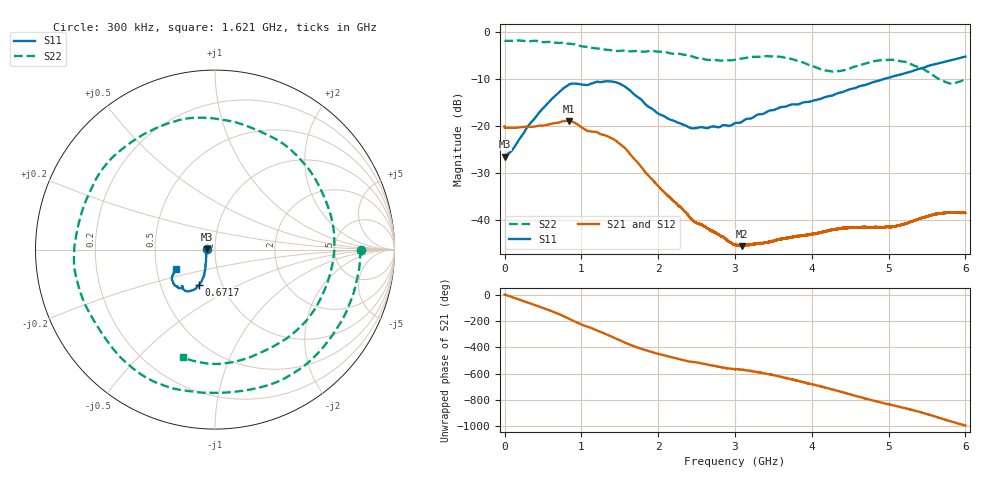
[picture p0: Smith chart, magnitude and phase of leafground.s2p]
!  8/6/2020  01:54:56
! Ref Plane: 0.000 mm
# MHZ S MA R  50
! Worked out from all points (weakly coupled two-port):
!   10001 points, 300 kHz to 6 GHz, reference 50 ohm
!   highest |S21| = -18.94 dB at 839.1 MHz (marker M1); lowest = -45.7 dB at 3.085 GHz (marker M2)
!   lowest |S11| = -26.6 dB at 300 kHz (marker M3), VSWR 1.10, Z = 45.5 + j0.0747 ohm
!   |S11| at or under -10 dB: start of sweep to 4.933 GHz
!   |S22| runs from -11.0 to -1.8 dB; largest |S21 - S12| = 0.0024
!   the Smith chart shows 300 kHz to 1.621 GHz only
!   S11 on the Smith chart (normalised r, x): 300 kHz: 0.91, +0.00; 671.7 MHz: 0.78, -0.32; 1.621 GHz: 0.63, -0.15
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0.3  0.04692 179.0  0.09887 -1.0  0.09652 -0.7  0.8156 -0.3
328.4836  0.1049 -120.4  0.09765 -66.8  0.09769 -66.7  0.8006 -97.0
671.6664  0.214 -114.4  0.1076 -140.3  0.1077 -140.3  0.7716 166.0
839.0581  0.2761 -122.5  0.113 176.3  0.113 176.3  0.7531 117.8
1000.45  0.2764 -131.6  0.0969 132.5  0.09691 132.6  0.707 71.7
1275.236  0.2949 -135.7  0.08048 70.6  0.08045 70.7  0.6586 -8.0
1621.419  0.2435 -153.3  0.05162 -18.5  0.05168 -18.4  0.6259 -106.8
2000.6  0.1353 -142.8  0.02272 -90.4  0.02276 -90.3  0.6195 152.1
2260.387  0.1079 -123.1  0.01421 -128.4  0.01422 -128.7  0.5907 84.1
2539.973  0.09651 -95.3  0.008922 -159.0  0.008973 -158.6  0.5295 5.9
2781.161  0.0966 -75.5  0.006942 173.1  0.006981 173.0  0.5011 -67.2
3000.15  0.1068 -56.9  0.005348 153.2  0.005373 153.9  0.507 -133.4
3085.346  0.1103 -50.7  0.005204 150.1  0.005261 150.2  0.5228 -157.4
3536.523  0.1513 -28.0  0.006046 104.1  0.005971 103.7  0.5504 90.0
4000.3  0.1839 -10.6  0.006985 39.4  0.007037 39.3  0.4357 -28.8
4225.889  0.2078 -0.6  0.007644 6.0  0.007658 6.2  0.3863 -100.5
4490.475  0.2454 8.2  0.008178 -35.7  0.008202 -35.9  0.4091 173.6
4761.062  0.2859 14.5  0.008271 -78.6  0.008267 -78.7  0.4791 101.7
5000.45  0.3262 19.4  0.00842 -113.4  0.008361 -113.3  0.5065 46.6
5242.838  0.372 22.9  0.009175 -146.0  0.009163 -146.0  0.4769 -5.8
5516.424  0.4369 26.0  0.01091 170.3  0.01094 170.2  0.377 -74.8
6000  0.5487 26.9  0.01177 86.9  0.01181 87.0  0.3208 118.7
